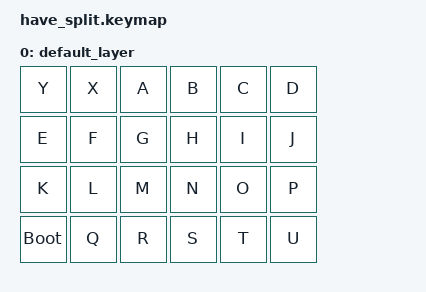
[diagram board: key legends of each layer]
#include <behaviors.dtsi>
#include <dt-bindings/zmk/keys.h>
#include <dt-bindings/zmk/bt.h>
#include <dt-bindings/zmk/pointing.h>

/ {
    keymap {
        compatible = "zmk,keymap";

        default_layer {
            bindings = <
                &kp Y       &kp X    &kp A    &kp B    &kp C    &kp D
                &kp E       &kp F    &kp G    &kp H    &kp I    &kp J
                &kp K       &kp L    &kp M    &kp N    &kp O    &kp P
                &bootloader &kp Q    &kp R    &kp S    &kp T    &kp U
            >;
        };
    };
 };
